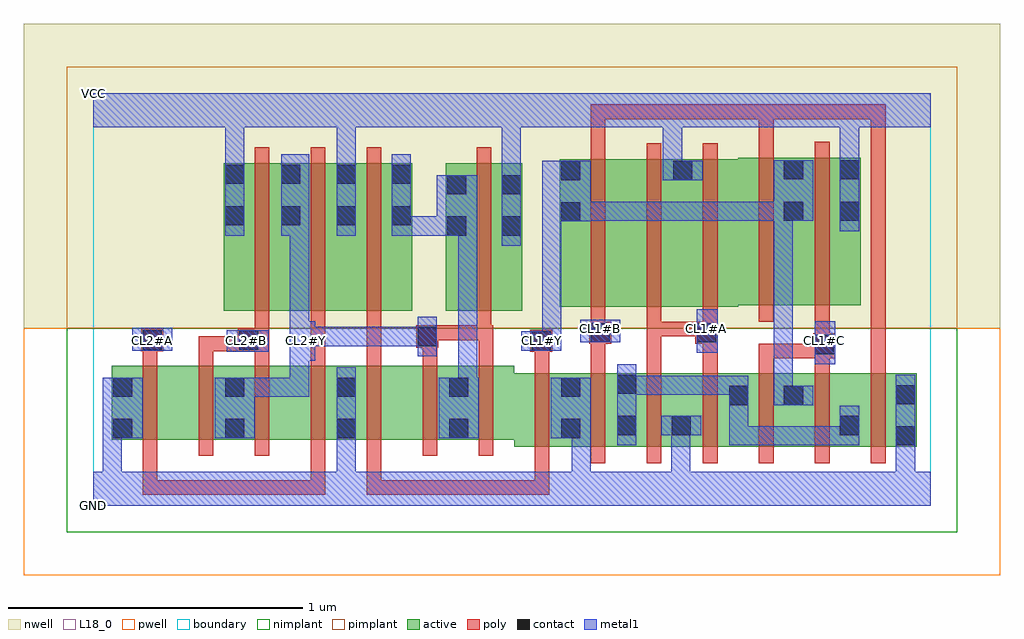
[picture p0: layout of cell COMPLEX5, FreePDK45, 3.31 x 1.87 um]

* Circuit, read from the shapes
.subckt COMPLEX5 CL1#A CL1#B CL1#C CL1#Y CL2#A CL2#B CL2#Y GND VCC
M1 n1 CL2#A GND VSUBS nfet w=0.25u l=0.05u
M2 CL2#Y CL2#B n1 VSUBS nfet w=0.25u l=0.05u
M3 n2 CL2#B CL2#Y VSUBS nfet w=0.25u l=0.05u
M4 GND CL2#A n2 VSUBS nfet w=0.25u l=0.05u
M5 n3 CL1#Y GND VSUBS nfet w=0.25u l=0.05u
M6 n4 CL2#Y n3 VSUBS nfet w=0.25u l=0.05u
M7 n5 CL2#Y n4 VSUBS nfet w=0.25u l=0.05u
M8 GND CL1#Y n5 VSUBS nfet w=0.25u l=0.05u
M9 n6 CL1#B GND VSUBS nfet w=0.25u l=0.05u m=2
M10 GND CL1#A n6 VSUBS nfet w=0.25u l=0.05u m=2
M11 CL1#Y CL1#C n6 VSUBS nfet w=0.25u l=0.05u m=2
M12 CL2#Y CL2#B VCC n7 pfet w=0.5u l=0.05u
M13 VCC CL2#A CL2#Y n7 pfet w=0.5u l=0.05u
M14 n4 CL1#Y VCC n7 pfet w=0.5u l=0.05u
M15 VCC CL2#Y n4 n7 pfet w=0.5u l=0.05u
M16 n8 CL1#B CL1#Y n7 pfet w=0.5u l=0.05u
M17 VCC CL1#A n8 n7 pfet w=0.5u l=0.05u
M18 n9 CL1#A VCC n7 pfet w=0.5u l=0.05u
M19 CL1#Y CL1#B n9 n7 pfet w=0.5u l=0.05u
M20 VCC CL1#C CL1#Y n7 pfet w=0.5u l=0.05u
.ends

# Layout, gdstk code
import gdstk
lib = gdstk.Library(unit=1e-6, precision=1e-09)
def R(c, l, rs):  # rectangles x0, y0, x1, y1
    for r in rs: c.add(gdstk.rectangle(r[:2], r[2:], *l))
def A(c, l, x, y, w, h, nx, ny, dx, dy):  # array of equal rectangles
    R(c, l, [(x+i*dx, y+j*dy, x+i*dx+w, y+j*dy+h) for i in range(nx) for j in range(ny)])
active = (1, 0)
pwell = (2, 0)
nwell = (3, 0)
nimplant = (4, 0)
pimplant = (5, 0)
poly = (9, 0)
contact = (10, 0)
metal1 = (11, 0)
L18_0 = (18, 0)
boundary = (235, 0)

complex5 = lib.new_cell('COMPLEX5')
R(complex5, active, [(1.427,0.2,1.657,0.45), (1.582,0.2,1.847,0.45), (1.772,0.2,2.032,0.45), (1.957,0.2,2.227,0.45), (2.152,0.2,2.412,0.45), (2.337,0.2,2.602,0.45), (2.527,0.2,2.602,0.45), (2.527,0.2,2.792,0.45), (2.717,0.2,2.792,0.45), (1.957,0.202,2.032,0.372), (0.062,0.225,0.137,0.475), (0.062,0.225,0.287,0.475), (0.287,0.225,0.517,0.475), (0.442,0.225,0.667,0.475), (0.442,0.225,0.517,0.467), (0.667,0.225,0.895,0.475), (0.82,0.225,0.895,0.44), (0.82,0.225,1.047,0.475), (1.047,0.225,1.277,0.475), (1.202,0.225,1.427,0.475), (1.202,0.225,1.277,0.467), (1.582,0.225,1.657,0.44), (1.772,0.235,1.847,0.45), (2.152,0.257,2.227,0.45), (2.337,0.297,2.412,0.412), (0.442,0.662,0.517,1.162), (0.442,0.662,0.707,1.162), (0.632,0.662,0.895,1.162), (0.82,0.662,1.082,1.162), (1.007,0.662,1.082,1.162), (1.195,0.662,1.27,1.162), (1.195,0.662,1.455,1.162), (1.38,0.662,1.455,1.157), (1.582,0.675,1.657,1.175), (1.582,0.675,1.807,1.175), (1.807,0.675,2.037,1.175), (1.962,0.675,2.187,1.175), (0.632,0.677,0.707,1.162), (2.187,0.68,2.412,1.18), (2.337,0.68,2.412,1.18), (2.337,0.68,2.602,1.18), (2.527,0.68,2.602,1.18), (1.962,0.682,2.037,1.175), (0.82,0.71,0.895,1.162)])
R(complex5, pwell, [(-0.235,-0.235,3.075,0.602)])
R(complex5, nwell, [(-0.235,0.602,3.075,1.635)])
R(complex5, nimplant, [(-0.09,-0.09,2.93,0.602)])
R(complex5, pimplant, [(-0.09,0.602,2.93,1.49)])
A(complex5, poly, 1.497, 0.145, 0.05, 0.36, 7, 1, 0.19, 0)
A(complex5, poly, 0.167, 0.17, 0.05, 0.36, 7, 1, 0.19, 0)
A(complex5, poly, 0.167, 0.48, 0.05, 0.095, 3, 1, 0.19, 0)
A(complex5, poly, 1.687, 0.575, 0.05, 0.095, 3, 1, 0.19, 0)
A(complex5, poly, 0.547, 0.607, 0.05, 0.61, 3, 1, 0.19, 0)
A(complex5, poly, 1.687, 0.62, 0.05, 0.61, 3, 1, 0.19, 0)
R(complex5, poly, [(0.167,0.037,0.217,0.087), (0.167,0.037,0.217,0.22), (0.167,0.037,0.407,0.087), (0.357,0.037,0.407,0.087), (0.357,0.037,0.407,0.087), (0.357,0.037,0.407,0.087), (0.357,0.037,0.655,0.087), (0.605,0.037,0.655,0.087), (0.605,0.037,0.655,0.087), (0.605,0.037,0.655,0.087), (0.605,0.037,0.787,0.087), (0.737,0.037,0.787,0.087), (0.737,0.037,0.787,0.087), (0.737,0.037,0.787,0.087), (0.737,0.037,0.787,0.22), (0.927,0.037,0.977,0.087), (0.927,0.037,0.977,0.087), (0.927,0.037,0.977,0.087), (0.927,0.037,1.217,0.087), (0.927,0.037,0.977,0.22), (1.167,0.037,1.217,0.087), (1.167,0.037,1.217,0.087), (1.167,0.037,1.217,0.087), (1.167,0.037,1.4,0.087), (1.35,0.037,1.4,0.087), (1.35,0.037,1.547,0.087), (1.497,0.037,1.547,0.087), (1.497,0.037,1.547,0.087), (1.497,0.037,1.547,0.087), (1.497,0.037,1.547,0.195), (1.497,0.455,1.547,0.572), (1.687,0.455,1.737,0.6), (1.877,0.455,1.927,0.625), (2.067,0.455,2.117,0.6), (2.257,0.455,2.307,0.55), (2.447,0.455,2.497,0.55), (2.637,0.455,2.687,1.362), (0.737,0.48,0.787,0.612), (0.927,0.48,0.977,0.612), (1.117,0.48,1.167,0.587), (1.307,0.48,1.357,0.612), (2.257,0.5,2.307,0.55), (2.257,0.5,2.492,0.55), (2.442,0.5,2.492,0.55), (2.442,0.5,2.492,0.55), (2.442,0.5,2.517,0.585), (1.482,0.522,1.557,0.597), (0.162,0.525,0.237,0.6), (0.357,0.525,0.407,0.575), (0.357,0.525,0.54,0.575), (0.49,0.525,0.54,0.575), (0.49,0.525,0.54,0.575), (0.49,0.525,0.597,0.6), (2.447,0.535,2.497,0.675), (1.095,0.537,1.17,0.612), (0.547,0.55,0.597,0.657), (1.682,0.55,1.757,0.625), (2.042,0.55,2.117,0.625), (0.737,0.562,0.787,0.612), (0.737,0.562,0.787,0.657), (0.927,0.562,0.977,0.612), (0.927,0.562,0.977,0.657), (1.12,0.562,1.35,0.612), (1.3,0.562,1.35,0.612), (1.3,0.562,1.35,0.612), (1.3,0.562,1.35,0.657), (1.3,0.562,1.357,0.612), (1.877,0.575,1.927,0.625), (1.877,0.575,1.927,0.625), (1.877,0.575,1.927,0.625), (1.877,0.575,2.092,0.625), (1.3,0.607,1.35,1.217), (2.257,0.625,2.307,1.235), (2.447,0.625,2.497,1.235), (1.687,1.18,1.737,1.362), (2.257,1.185,2.307,1.362), (1.687,1.312,1.737,1.362), (1.687,1.312,1.737,1.362), (1.687,1.312,1.737,1.362), (1.687,1.312,1.907,1.362), (1.857,1.312,1.907,1.362), (1.857,1.312,1.907,1.362), (1.857,1.312,1.907,1.362), (1.857,1.312,2.175,1.362), (2.125,1.312,2.175,1.362), (2.125,1.312,2.307,1.362), (2.257,1.312,2.307,1.362), (2.257,1.312,2.307,1.362), (2.257,1.312,2.307,1.362), (2.257,1.312,2.44,1.362), (2.39,1.312,2.44,1.362), (2.39,1.312,2.44,1.362), (2.39,1.312,2.44,1.362), (2.39,1.312,2.687,1.362), (2.637,1.312,2.687,1.362), (2.637,1.312,2.687,1.362), (2.637,1.312,2.687,1.362), (2.637,1.312,2.687,1.362), (2.637,1.312,2.687,1.362), (2.637,1.312,2.687,1.362), (2.637,1.312,2.687,1.362), (2.637,1.312,2.687,1.362), (2.637,1.312,2.687,1.362), (2.637,1.312,2.687,1.362), (2.637,1.312,2.687,1.362), (2.637,1.312,2.687,1.362), (2.637,1.312,2.687,1.362)])
R(complex5, contact, [(2.722,0.205,2.787,0.27), (0.067,0.23,0.132,0.295), (0.447,0.23,0.512,0.295), (0.825,0.23,0.89,0.295), (1.207,0.23,1.272,0.295), (1.587,0.23,1.652,0.295), (1.777,0.24,1.842,0.305), (1.962,0.24,2.027,0.305), (2.532,0.24,2.597,0.305), (2.157,0.342,2.222,0.407), (2.342,0.342,2.407,0.407), (2.722,0.345,2.787,0.41), (0.067,0.37,0.132,0.435), (0.447,0.37,0.512,0.435), (0.825,0.37,0.89,0.435), (1.207,0.37,1.272,0.435), (1.587,0.37,1.652,0.435), (1.777,0.38,1.842,0.445), (2.447,0.515,2.512,0.58), (1.487,0.527,1.552,0.592), (0.167,0.53,0.232,0.595), (0.495,0.53,0.56,0.595), (1.1,0.542,1.165,0.607), (1.687,0.555,1.752,0.62), (2.047,0.555,2.112,0.62), (1.2,0.917,1.265,0.982), (1.385,0.917,1.45,0.982), (0.447,0.952,0.512,1.017), (0.637,0.952,0.702,1.017), (0.825,0.952,0.89,1.017), (1.012,0.952,1.077,1.017), (1.587,0.965,1.652,1.03), (2.342,0.967,2.407,1.032), (2.532,0.967,2.597,1.032), (1.2,1.057,1.265,1.122), (1.385,1.057,1.45,1.122), (0.447,1.092,0.512,1.157), (0.637,1.092,0.702,1.157), (0.825,1.092,0.89,1.157), (1.012,1.092,1.077,1.157), (1.587,1.105,1.652,1.17), (1.967,1.105,2.032,1.17), (2.342,1.107,2.407,1.172), (2.532,1.107,2.597,1.172)])
R(complex5, metal1, [(0,0,2.84,0.115), (0.032,0.05,0.097,0.115), (0.032,0.05,0.097,0.115), (0.032,0.05,0.097,0.115), (0.032,0.05,0.097,0.115), (0.032,0.05,0.097,0.295), (0.825,0.05,0.89,0.26), (1.622,0.05,1.687,0.115), (1.622,0.05,1.687,0.115), (1.622,0.05,1.687,0.115), (1.622,0.05,1.687,0.115), (1.622,0.05,1.687,0.295), (1.96,0.05,2.025,0.305), (2.722,0.05,2.787,0.235), (2.722,0.05,2.787,0.115), (2.722,0.05,2.787,0.115), (2.722,0.05,2.787,0.115), (2.722,0.05,2.787,0.115), (2.722,0.17,2.787,0.445), (0.825,0.195,0.89,0.47), (0.825,0.195,0.89,0.26), (0.825,0.195,0.89,0.26), (0.825,0.195,0.89,0.26), (0.825,0.195,0.89,0.26), (1.777,0.205,1.842,0.48), (2.157,0.205,2.222,0.27), (2.157,0.205,2.375,0.27), (2.157,0.205,2.222,0.372), (2.31,0.205,2.375,0.27), (2.31,0.205,2.375,0.27), (2.31,0.205,2.375,0.27), (2.31,0.205,2.597,0.27), (2.532,0.205,2.597,0.27), (2.532,0.205,2.597,0.27), (2.532,0.205,2.597,0.34), (0.032,0.23,0.167,0.435), (0.412,0.23,0.547,0.435), (1.172,0.23,1.307,0.435), (1.552,0.23,1.687,0.435), (1.927,0.24,2.062,0.305), (1.96,0.24,2.025,0.305), (1.96,0.24,2.025,0.305), (1.96,0.24,2.025,0.305), (1.96,0.24,2.025,0.305), (2.157,0.307,2.222,0.442), (2.307,0.342,2.372,1.032), (2.307,0.342,2.442,0.407), (0.482,0.37,0.732,0.435), (0.667,0.37,0.732,0.435), (0.667,0.37,0.732,0.435), (0.667,0.37,0.732,0.435), (0.667,0.37,0.732,0.557), (1.237,0.37,1.302,0.435), (1.237,0.37,1.302,0.435), (1.237,0.37,1.302,0.982), (1.777,0.377,1.925,0.442), (1.86,0.377,1.925,0.442), (1.86,0.377,2.062,0.442), (1.997,0.377,2.062,0.442), (1.997,0.377,2.062,0.442), (1.997,0.377,2.062,0.442), (1.997,0.377,2.222,0.442), (2.447,0.48,2.517,0.627), (0.667,0.492,0.752,0.627), (1.1,0.507,1.165,0.642), (2.047,0.52,2.117,0.667), (0.452,0.522,0.595,0.595), (0.132,0.527,0.267,0.605), (1.452,0.527,1.587,0.592), (1.522,0.527,1.587,0.592), (1.522,0.527,1.587,0.592), (1.522,0.527,1.587,1.03), (0.687,0.542,0.89,0.607), (0.825,0.542,0.89,0.607), (0.825,0.542,0.89,0.607), (0.825,0.542,0.89,0.607), (0.825,0.542,1.027,0.607), (0.962,0.542,1.027,0.607), (0.962,0.542,1.027,0.607), (0.962,0.542,1.027,0.607), (0.962,0.542,1.165,0.607), (1.652,0.555,1.787,0.632), (0.667,0.562,0.732,0.982), (1.385,0.882,1.45,1.157), (0.447,0.917,0.512,1.192), (0.637,0.917,0.732,1.192), (0.825,0.917,0.89,1.192), (1.012,0.917,1.077,1.192), (1.012,0.917,1.23,0.982), (1.165,0.917,1.23,0.982), (1.165,0.917,1.23,0.982), (1.165,0.917,1.302,1.122), (2.532,0.932,2.597,1.207), (1.522,0.965,1.687,1.17), (1.622,0.967,1.725,1.032), (1.66,0.967,1.725,1.032), (1.66,0.967,1.825,1.032), (1.76,0.967,1.825,1.032), (1.76,0.967,1.862,1.032), (1.797,0.967,1.862,1.032), (1.797,0.967,2.062,1.032), (1.997,0.967,2.062,1.032), (1.997,0.967,2.062,1.032), (1.997,0.967,2.062,1.032), (1.997,0.967,2.2,1.032), (2.135,0.967,2.2,1.032), (2.135,0.967,2.2,1.032), (2.135,0.967,2.2,1.032), (2.135,0.967,2.372,1.032), (2.307,0.967,2.372,1.032), (2.307,0.967,2.372,1.032), (2.307,0.967,2.442,1.172), (1.385,1.092,1.45,1.157), (1.385,1.092,1.45,1.157), (1.385,1.092,1.45,1.35), (1.932,1.105,2.067,1.17), (1.932,1.105,1.997,1.35), (0.447,1.127,0.512,1.35), (0.825,1.127,0.89,1.35), (2.532,1.142,2.597,1.35), (0,1.285,2.84,1.4), (0.447,1.285,0.512,1.35), (0.447,1.285,0.512,1.35), (0.825,1.285,0.89,1.35), (0.825,1.285,0.89,1.35), (1.932,1.285,1.997,1.35), (1.932,1.285,1.997,1.35), (2.532,1.285,2.597,1.35), (2.532,1.285,2.597,1.35)])
R(complex5, L18_0, [(0,0,2.84,0.115), (0.032,0.05,0.097,0.115), (0.032,0.05,0.097,0.115), (0.032,0.05,0.097,0.115), (0.032,0.05,0.097,0.115), (0.032,0.05,0.097,0.295), (0.825,0.05,0.89,0.26), (1.622,0.05,1.687,0.115), (1.622,0.05,1.687,0.115), (1.622,0.05,1.687,0.115), (1.622,0.05,1.687,0.115), (1.622,0.05,1.687,0.295), (1.96,0.05,2.025,0.305), (2.722,0.05,2.787,0.115), (2.722,0.05,2.787,0.115), (2.722,0.05,2.787,0.115), (2.722,0.05,2.787,0.115), (2.722,0.05,2.787,0.235), (2.722,0.17,2.787,0.445), (0.825,0.195,0.89,0.26), (0.825,0.195,0.89,0.26), (0.825,0.195,0.89,0.26), (0.825,0.195,0.89,0.26), (0.825,0.195,0.89,0.47), (0.032,0.23,0.167,0.435), (0.412,0.23,0.547,0.435), (1.552,0.23,1.687,0.435), (1.927,0.24,2.062,0.305), (1.96,0.24,2.025,0.305), (1.96,0.24,2.025,0.305), (1.96,0.24,2.025,0.305), (1.96,0.24,2.025,0.305), (2.307,0.342,2.442,0.407), (2.307,0.342,2.372,1.032), (0.482,0.37,0.732,0.435), (0.667,0.37,0.732,0.435), (0.667,0.37,0.732,0.435), (0.667,0.37,0.732,0.435), (0.667,0.37,0.732,0.557), (2.447,0.48,2.517,0.627), (0.667,0.492,0.752,0.627), (1.1,0.507,1.165,0.642), (2.047,0.52,2.117,0.667), (0.452,0.522,0.595,0.595), (0.132,0.527,0.267,0.605), (0.167,0.527,0.232,0.592), (0.487,0.527,0.552,0.592), (0.687,0.527,0.752,0.592), (1.452,0.527,1.587,0.592), (1.487,0.527,1.552,0.592), (1.522,0.527,1.587,0.592), (1.522,0.527,1.587,0.592), (1.522,0.527,1.587,1.03), (2.447,0.527,2.512,0.592), (0.687,0.542,0.89,0.607), (0.825,0.542,0.89,0.607), (0.825,0.542,0.89,0.607), (0.825,0.542,0.89,0.607), (0.825,0.542,1.027,0.607), (0.962,0.542,1.027,0.607), (0.962,0.542,1.027,0.607), (0.962,0.542,1.027,0.607), (0.962,0.542,1.165,0.607), (1.652,0.555,1.787,0.632), (0.667,0.562,0.732,0.982), (1.687,0.567,1.752,0.632), (2.047,0.567,2.112,0.632), (1.385,0.882,1.45,1.157), (0.447,0.917,0.512,1.192), (0.637,0.917,0.732,1.192), (0.825,0.917,0.89,1.192), (2.532,0.932,2.597,1.207), (1.522,0.965,1.687,1.17), (1.622,0.967,1.725,1.032), (1.66,0.967,1.725,1.032), (1.66,0.967,1.825,1.032), (1.76,0.967,1.825,1.032), (1.76,0.967,1.862,1.032), (1.797,0.967,1.862,1.032), (1.797,0.967,2.062,1.032), (1.997,0.967,2.062,1.032), (1.997,0.967,2.062,1.032), (1.997,0.967,2.062,1.032), (1.997,0.967,2.2,1.032), (2.135,0.967,2.2,1.032), (2.135,0.967,2.2,1.032), (2.135,0.967,2.2,1.032), (2.135,0.967,2.372,1.032), (2.307,0.967,2.372,1.032), (2.307,0.967,2.372,1.032), (2.307,0.967,2.442,1.172), (1.385,1.092,1.45,1.157), (1.385,1.092,1.45,1.157), (1.385,1.092,1.45,1.35), (1.932,1.105,1.997,1.35), (1.932,1.105,2.067,1.17), (0.447,1.127,0.512,1.35), (0.825,1.127,0.89,1.35), (2.532,1.142,2.597,1.35), (0,1.285,2.84,1.4), (0.447,1.285,0.512,1.35), (0.447,1.285,0.512,1.35), (0.825,1.285,0.89,1.35), (0.825,1.285,0.89,1.35), (1.932,1.285,1.997,1.35), (1.932,1.285,1.997,1.35), (2.532,1.285,2.597,1.35), (2.532,1.285,2.597,1.35)])
R(complex5, boundary, [(0,0,2.84,1.4)])
complex5.add(gdstk.Label('CL1#A', (2.08,0.6), layer=11, texttype=0))
complex5.add(gdstk.Label('CL1#B', (1.72,0.6), layer=11, texttype=0))
complex5.add(gdstk.Label('CL1#C', (2.48,0.56), layer=11, texttype=0))
complex5.add(gdstk.Label('CL1#Y', (1.52,0.56), layer=11, texttype=0))
complex5.add(gdstk.Label('CL2#A', (0.2,0.56), layer=11, texttype=0))
complex5.add(gdstk.Label('CL2#B', (0.52,0.56), layer=11, texttype=0))
complex5.add(gdstk.Label('CL2#Y', (0.72,0.56), layer=11, texttype=0))
complex5.add(gdstk.Label('VCC', (0,1.4), layer=11, texttype=0))
complex5.add(gdstk.Label('GND', (0,0), layer=11, texttype=0))

lib.write_gds('COMPLEX5.gds')
